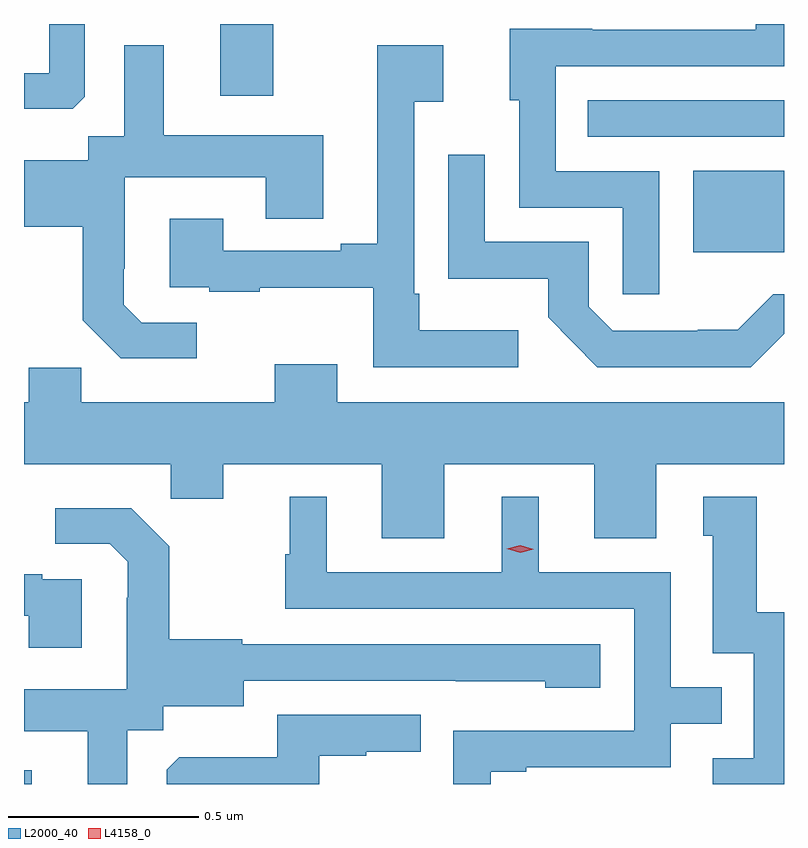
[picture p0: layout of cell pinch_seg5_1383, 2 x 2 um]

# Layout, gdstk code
import gdstk
lib = gdstk.Library(unit=1e-6, precision=1e-09)
def R(c, l, rs):  # rectangles x0, y0, x1, y1
    for r in rs: c.add(gdstk.rectangle(r[:2], r[2:], *l))
def P(c, l, *ps):  # polygons
    for p in ps: c.add(gdstk.Polygon(p, *l))
L2000_40 = (2000, 40)
L4158_0 = (4158, 0)

pinch_seg5_1383 = lib.new_cell('pinch_seg5_1383')
R(pinch_seg5_1383, L2000_40, [(304.127,897.211,304.147,897.247), (305.888,898.61,306.127,898.825), (305.611,898.914,306.127,899.01), (304.643,899.022,304.783,899.211)])
P(pinch_seg5_1383, L2000_40, [(305.799,898.824),(305.526,898.824),(305.526,899.1),(306.127,899.1),(306.127,899.211),(306.053,899.211),(306.053,899.196),(305.623,899.196),(305.623,899.198),(305.405,899.198),(305.405,899.01),(305.43,899.01),(305.43,898.728),(305.703,898.728),(305.703,898.5),(305.799,898.5)],
  [(304.287,899.019),(304.287,899.211),(304.194,899.211),(304.194,899.082),(304.127,899.082),(304.127,898.988),(304.255,898.988)],
  [(305.428,898.405),(305.167,898.405),(305.167,898.501),(305.154,898.501),(305.154,899.006),(305.23,899.006),(305.23,899.155),(305.057,899.155),(305.057,898.633),(304.961,898.633),(304.961,898.614),(304.651,898.614),(304.651,898.699),(304.511,898.699),(304.511,898.518),(304.615,898.518),(304.615,898.506),(304.747,898.506),(304.747,898.517),(305.046,898.517),(305.046,898.308),(305.428,898.308)],
  [(304.582,898.425),(304.437,898.425),(304.39,898.472),(304.39,898.567),(304.392,898.567),(304.392,898.808),(304.763,898.808),(304.763,898.699),(304.915,898.699),(304.915,898.918),(304.495,898.918),(304.495,899.155),(304.391,899.155),(304.391,898.916),(304.296,898.916),(304.296,898.852),(304.127,898.852),(304.127,898.677),(304.281,898.677),(304.281,898.431),(304.381,898.331),(304.582,898.331)],
  [(306.127,898.396),(306.127,898.5),(306.099,898.5),(306.005,898.406),(305.9,898.406),(305.9,898.404),(305.676,898.404),(305.613,898.467),(305.613,898.638),(305.34,898.638),(305.34,898.867),(305.244,898.867),(305.244,898.541),(305.506,898.541),(305.506,898.439),(305.636,898.308),(306.039,898.308)],
  [(304.787,898.315),(304.787,898.216),(304.277,898.216),(304.277,898.307),(304.139,898.307),(304.139,898.216),(304.127,898.216),(304.127,898.052),(304.513,898.052),(304.513,897.962),(304.651,897.962),(304.651,898.052),(305.069,898.052),(305.069,897.858),(305.233,897.858),(305.233,898.052),(305.627,898.052),(305.627,897.858),(305.791,897.858),(305.791,898.052),(306.127,898.052),(306.127,898.216),(304.951,898.216),(304.951,898.315)],
  [(306.127,897.663),(306.055,897.663),(306.055,897.967),(305.915,897.967),(305.915,897.864),(305.939,897.864),(305.939,897.555),(306.048,897.555),(306.048,897.279),(305.939,897.279),(305.939,897.211),(306.127,897.211)],
  [(305.355,897.243),(305.449,897.243),(305.449,897.255),(305.829,897.255),(305.829,897.369),(305.963,897.369),(305.963,897.465),(305.829,897.465),(305.829,897.768),(305.482,897.768),(305.482,897.967),(305.384,897.967),(305.384,897.768),(304.924,897.768),(304.924,897.967),(304.826,897.967),(304.826,897.816),(304.815,897.816),(304.815,897.672),(305.733,897.672),(305.733,897.351),(305.256,897.351),(305.256,897.211),(305.355,897.211)],
  [(304.399,897.352),(304.494,897.352),(304.494,897.416),(304.705,897.416),(304.705,897.483),(305.263,897.483),(305.263,897.482),(305.499,897.482),(305.499,897.464),(305.644,897.464),(305.644,897.579),(304.701,897.579),(304.701,897.592),(304.509,897.592),(304.509,897.837),(304.409,897.937),(304.209,897.937),(304.209,897.843),(304.353,897.843),(304.4,897.796),(304.4,897.701),(304.398,897.701),(304.398,897.46),(304.127,897.46),(304.127,897.35),(304.295,897.35),(304.295,897.211),(304.399,897.211)],
  [(304.279,897.75),(304.175,897.75),(304.175,897.763),(304.127,897.763),(304.127,897.654),(304.139,897.654),(304.139,897.57),(304.279,897.57)],
  [(304.904,897.285),(305.027,897.285),(305.027,897.296),(305.171,897.296),(305.171,897.393),(304.794,897.393),(304.794,897.281),(304.535,897.281),(304.503,897.249),(304.503,897.211),(304.904,897.211)])
P(pinch_seg5_1383, L4158_0, [(305.433,897.82),(305.397,897.83),(305.397,897.83),(305.397,897.83),(305.433,897.839),(305.469,897.829),(305.469,897.829),(305.469,897.829)])

lib.write_gds('pinch_seg5_1383.gds')
